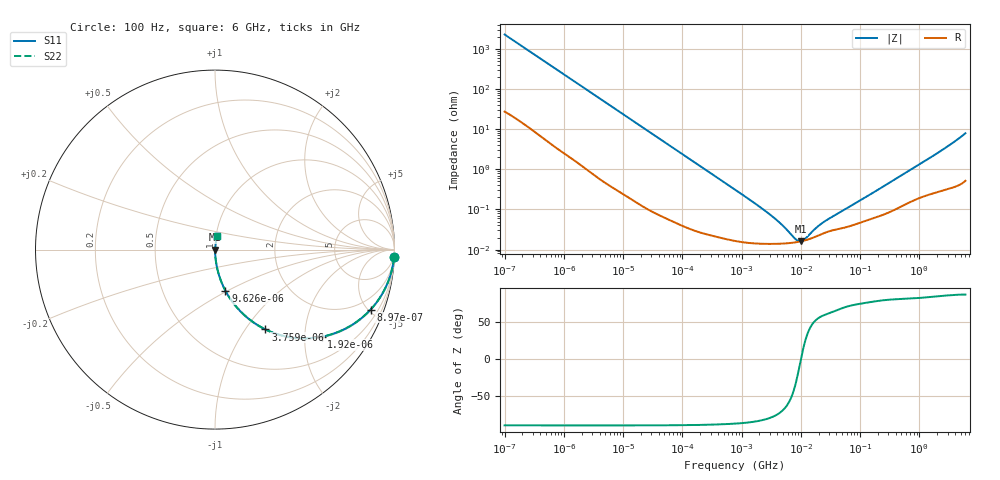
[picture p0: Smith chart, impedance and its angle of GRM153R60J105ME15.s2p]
!Murata Part Number: GRM153R60J105ME15
!These Parameters are Measured in Series Mode Connection
!Data Generated on Mar 30, 2021
!  o--ll--o
!Port1  Port2
!  o------o
!Operation Temp=25[degC], DC Bias Voltage=0[V]
!Freq. Start=100[Hz] Stop=6[GHz] 401[Steps]
# Hz S RI R 50
!Freq.(Hz) S11(Real) S11(Imag) S21(Real) S21(Imag) S12(Real) S12(Imag) S22(Real) S22(Imag)
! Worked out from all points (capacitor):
!   401 points, 100 Hz to 6 GHz, reference 50 ohm
!   read as one part in series: C = 697 nF near 109 Hz
!   lowest |Z| = 16 mohm at 9.942 MHz (marker M1)
!   series resonance near 10.08 MHz, so ESL is about 360 pH
!   S11 on the Smith chart (normalised r, x): 100 Hz: 2, -46; 897 Hz: 1.06, -5.16; 1.92 kHz: 1.03, -2.42; 3.759 kHz: 1.01, -1.24; 9.626 kHz: 1.01, -0.49; 6 GHz: 1.01, +0.16
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100  0.9975 -0.0438  0.00245 0.0438  0.00245 0.0438  0.9975 -0.0438
335  0.9776 -0.1421  0.0224 0.1421  0.0224 0.1421  0.9776 -0.1421
897  0.8669 -0.3343  0.1331 0.3343  0.1331 0.3343  0.8669 -0.3343
1283  0.7635 -0.4195  0.2365 0.4195  0.2365 0.4195  0.7635 -0.4195
1920  0.5942 -0.4858  0.4058 0.4858  0.4058 0.4858  0.5942 -0.4858
2008  0.5728 -0.4895  0.4272 0.4895  0.4272 0.4895  0.5728 -0.4895
3759  0.2809 -0.4446  0.7191 0.4446  0.7191 0.4446  0.2809 -0.4446
5882  0.1394 -0.3415  0.8606 0.3415  0.8606 0.3415  0.1394 -0.3415
9626  0.0584 -0.2294  0.9416 0.2294  0.9416 0.2294  0.0584 -0.2294
18841  0.0167 -0.123  0.9833 0.123  0.9833 0.123  0.0167 -0.123
40335  0.00416 -0.0585  0.9958 0.0585  0.9958 0.0585  0.00416 -0.0585
774597  0.000174 -0.00311  0.9998 0.00311  0.9998 0.00311  0.000174 -0.00311
2967816  0.000139 -0.000748  0.9999 0.000748  0.9999 0.000748  0.000139 -0.000748
4856642  0.000141 -0.000383  0.9999 0.000383  0.9999 0.000383  0.000141 -0.000383
7947587  0.000151 -0.000114  0.9998 0.000114  0.9998 0.000114  0.000151 -0.000114
9941735  0.00016 -6.5e-06  0.9998 6.5e-06  0.9998 6.5e-06  0.00016 -6.5e-06
1.189169e7  0.000171 7.73e-05  0.9998 -7.73e-05  0.9998 -7.73e-05  0.000171 7.73e-05
1.555665e7  0.000194 0.000203  0.9998 -0.000203  0.9998 -0.000203  0.000194 0.000203
2.662322e7  0.000269 0.000458  0.9997 -0.000458  0.9997 -0.000458  0.000269 0.000458
3.124326e8  0.000872 0.00453  0.9991 -0.00453  0.9991 -0.00453  0.000872 0.00453
1.873145e9  0.00314 0.0232  0.9969 -0.0232  0.9969 -0.0232  0.00314 0.0232
6e9  0.0112 0.0776  0.9888 -0.0776  0.9888 -0.0776  0.0112 0.0776
